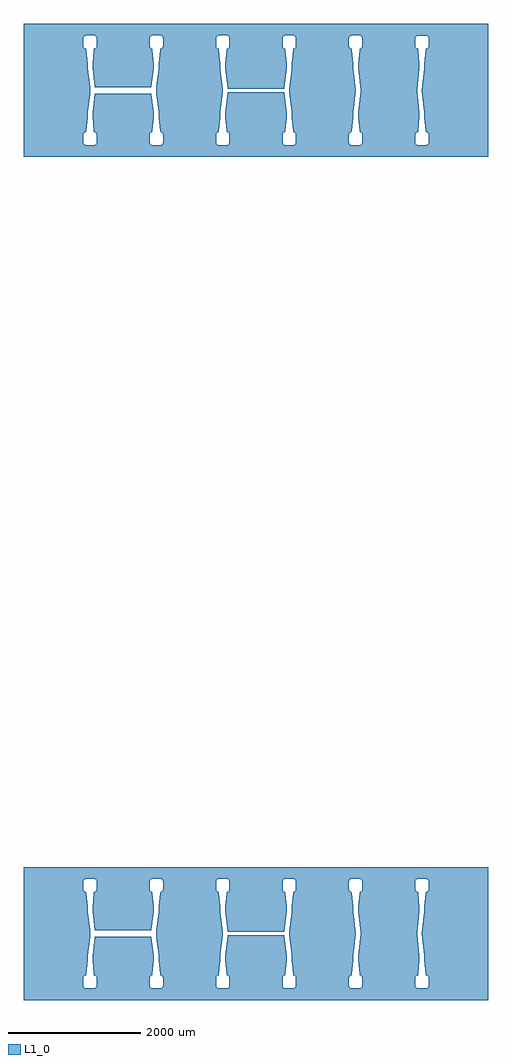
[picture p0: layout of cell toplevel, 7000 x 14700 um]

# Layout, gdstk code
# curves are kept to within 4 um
import gdstk
lib = gdstk.Library(unit=1e-6, precision=1e-09)
def P(c, l, *ps):  # polygons
    for p in ps: c.add(gdstk.Polygon(p, *l))
L1_0 = (1, 0)

toplevel = lib.new_cell('toplevel')
P(toplevel, L1_0, [(-3500,-5350),(-2000,-5350),(-2000,-6300),(-2425.041,-6300),(-2462.5,-6017.5),(-2462.5,-5945),(-2440,-5725),(-2414.624,-5715.92),(-2400.769,-5692.804),(-2400.769,-5557.196),(-2411.716,-5536.716),(-2432.196,-5525.769),(-2560,-5525),(-2588.284,-5536.716),(-2600,-5565),(-2599.231,-5692.804),(-2585.376,-5715.92),(-2560,-5725),(-2537.5,-5945),(-2537.168,-6024.978),(-2500,-6302.5),(-2500,-6397.5),(-2537.168,-6675.022),(-2537.5,-6755),(-2560,-6975),(-2585.376,-6984.08),(-2599.231,-7007.196),(-2598.278,-7146.611),(-2585.376,-7165.92),(-2567.804,-7174.231),(-2440,-7175),(-2414.624,-7165.92),(-2400.769,-7142.804),(-2400.769,-7007.196),(-2414.624,-6984.08),(-2440,-6975),(-2462.5,-6755),(-2462.5,-6682.5),(-2425.041,-6400),(-2000,-6400),(-2000,-7350),(-3500,-7350)],
  [(-2000,-5350),(0,-5350),(0,-6325),(-425.033,-6325),(-462.5,-6017.704),(-462.5,-5945),(-440,-5725),(-414.624,-5715.92),(-400.769,-5692.804),(-400.769,-5557.196),(-411.716,-5536.716),(-432.196,-5525.769),(-560,-5525),(-588.284,-5536.716),(-600,-5565),(-599.231,-5692.804),(-585.376,-5715.92),(-560,-5725),(-537.5,-5945),(-537.22,-6024.576),(-500,-6327.296),(-500,-6372.704),(-537.22,-6675.424),(-537.5,-6755),(-560,-6975),(-585.376,-6984.08),(-599.807,-7011.079),(-598.278,-7146.611),(-585.376,-7165.92),(-567.804,-7174.231),(-440,-7175),(-414.624,-7165.92),(-400.769,-7142.804),(-400.769,-7007.196),(-414.624,-6984.08),(-440,-6975),(-462.5,-6755),(-462.5,-6682.296),(-425.033,-6375),(0,-6375),(0,-7350),(-2000,-7350),(-2000,-6400),(-1574.959,-6400),(-1537.5,-6682.5),(-1537.5,-6755),(-1560,-6975),(-1585.376,-6984.08),(-1599.231,-7007.196),(-1599.231,-7142.804),(-1588.284,-7163.284),(-1567.804,-7174.231),(-1440,-7175),(-1411.716,-7163.284),(-1400,-7135),(-1400.769,-7007.196),(-1414.624,-6984.08),(-1440,-6975),(-1462.5,-6755),(-1462.832,-6675.022),(-1500,-6397.5),(-1500,-6302.5),(-1462.832,-6024.978),(-1462.5,-5945),(-1440,-5725),(-1414.624,-5715.92),(-1400.769,-5692.804),(-1401.722,-5553.389),(-1414.624,-5534.08),(-1432.196,-5525.769),(-1560,-5525),(-1585.376,-5534.08),(-1599.231,-5557.196),(-1599.231,-5692.804),(-1585.376,-5715.92),(-1560,-5725),(-1537.5,-5945),(-1537.5,-6017.5),(-1574.959,-6300),(-2000,-6300)],
  [(0,-5350),(2000,-5350),(2000,-6345),(1574.974,-6345),(1537.5,-6017.844),(1537.5,-5945),(1560,-5725),(1585.376,-5715.92),(1599.231,-5692.804),(1599.231,-5557.196),(1588.284,-5536.716),(1567.804,-5525.769),(1440,-5525),(1411.716,-5536.716),(1400,-5565),(1400.769,-5692.804),(1414.624,-5715.92),(1440,-5725),(1462.5,-5945),(1462.747,-6024.298),(1500,-6347.156),(1462.747,-6675.702),(1462.5,-6755),(1440,-6975),(1414.624,-6984.08),(1400.193,-7011.079),(1401.722,-7146.611),(1414.624,-7165.92),(1432.196,-7174.231),(1560,-7175),(1585.376,-7165.92),(1599.231,-7142.804),(1599.231,-7007.196),(1585.376,-6984.08),(1560,-6975),(1537.5,-6755),(1537.5,-6682.156),(1574.974,-6355),(2000,-6355),(2000,-7350),(0,-7350),(0,-6375),(425.033,-6375),(462.5,-6682.296),(462.5,-6755),(440,-6975),(414.624,-6984.08),(400.769,-7007.196),(400.769,-7142.804),(411.716,-7163.284),(432.196,-7174.231),(560,-7175),(588.284,-7163.284),(600,-7135),(599.231,-7007.196),(585.376,-6984.08),(560,-6975),(537.5,-6755),(537.22,-6675.424),(500,-6372.704),(500,-6327.296),(537.22,-6024.576),(537.5,-5945),(560,-5725),(585.376,-5715.92),(599.807,-5688.921),(598.278,-5553.389),(585.376,-5534.08),(567.804,-5525.769),(440,-5525),(414.624,-5534.08),(400.769,-5557.196),(400.769,-5692.804),(414.624,-5715.92),(440,-5725),(462.5,-5945),(462.5,-6017.704),(425.033,-6325),(0,-6325)],
  [(2000,-5350),(3500,-5350),(3500,-7350),(2000,-7350),(2000,-6355),(2425.026,-6355),(2462.5,-6682.156),(2462.5,-6755),(2440,-6975),(2414.624,-6984.08),(2400.769,-7007.196),(2400.769,-7142.804),(2411.716,-7163.284),(2432.196,-7174.231),(2560,-7175),(2588.284,-7163.284),(2600,-7135),(2599.231,-7007.196),(2585.376,-6984.08),(2560,-6975),(2537.5,-6755),(2537.253,-6675.702),(2500,-6352.844),(2537.253,-6024.298),(2537.5,-5945),(2560,-5725),(2585.376,-5715.92),(2599.807,-5688.921),(2598.278,-5553.389),(2585.376,-5534.08),(2567.804,-5525.769),(2440,-5525),(2414.624,-5534.08),(2400.769,-5557.196),(2400.769,-5692.804),(2414.624,-5715.92),(2440,-5725),(2462.5,-5945),(2462.5,-6017.844),(2425.026,-6345),(2000,-6345)],
  [(-3500,7350),(-2000,7350),(-2000,6400),(-2425.041,6400),(-2462.5,6682.5),(-2462.5,6755),(-2440,6975),(-2414.624,6984.08),(-2400.769,7007.196),(-2400.769,7142.804),(-2411.716,7163.284),(-2432.196,7174.231),(-2560,7175),(-2588.284,7163.284),(-2600,7135),(-2599.231,7007.196),(-2585.376,6984.08),(-2560,6975),(-2537.5,6755),(-2537.168,6675.022),(-2500,6397.5),(-2500,6302.5),(-2537.168,6024.978),(-2537.5,5945),(-2560,5725),(-2585.376,5715.92),(-2599.231,5692.804),(-2598.278,5553.389),(-2585.376,5534.08),(-2567.804,5525.769),(-2440,5525),(-2414.624,5534.08),(-2400.769,5557.196),(-2400.769,5692.804),(-2414.624,5715.92),(-2440,5725),(-2462.5,5945),(-2462.5,6017.5),(-2425.041,6300),(-2000,6300),(-2000,5350),(-3500,5350)],
  [(-2000,7350),(0,7350),(0,6375),(-425.033,6375),(-462.5,6682.296),(-462.5,6755),(-440,6975),(-414.624,6984.08),(-400.769,7007.196),(-400.769,7142.804),(-411.716,7163.284),(-432.196,7174.231),(-560,7175),(-588.284,7163.284),(-600,7135),(-599.231,7007.196),(-585.376,6984.08),(-560,6975),(-537.5,6755),(-537.22,6675.424),(-500,6372.704),(-500,6327.296),(-537.22,6024.576),(-537.5,5945),(-560,5725),(-585.376,5715.92),(-599.807,5688.921),(-598.278,5553.389),(-585.376,5534.08),(-567.804,5525.769),(-440,5525),(-414.624,5534.08),(-400.769,5557.196),(-400.769,5692.804),(-414.624,5715.92),(-440,5725),(-462.5,5945),(-462.5,6017.704),(-425.033,6325),(0,6325),(0,5350),(-2000,5350),(-2000,6300),(-1574.959,6300),(-1537.5,6017.5),(-1537.5,5945),(-1560,5725),(-1585.376,5715.92),(-1599.231,5692.804),(-1599.231,5557.196),(-1588.284,5536.716),(-1567.804,5525.769),(-1440,5525),(-1411.716,5536.716),(-1400,5565),(-1400.769,5692.804),(-1414.624,5715.92),(-1440,5725),(-1462.5,5945),(-1462.832,6024.978),(-1500,6302.5),(-1500,6397.5),(-1462.832,6675.022),(-1462.5,6755),(-1440,6975),(-1414.624,6984.08),(-1400.769,7007.196),(-1401.722,7146.611),(-1414.624,7165.92),(-1432.196,7174.231),(-1560,7175),(-1585.376,7165.92),(-1599.231,7142.804),(-1599.231,7007.196),(-1585.376,6984.08),(-1560,6975),(-1537.5,6755),(-1537.5,6682.5),(-1574.959,6400),(-2000,6400)],
  [(0,7350),(2000,7350),(2000,6355),(1574.974,6355),(1537.5,6682.156),(1537.5,6755),(1560,6975),(1585.376,6984.08),(1599.231,7007.196),(1599.231,7142.804),(1588.284,7163.284),(1567.804,7174.231),(1440,7175),(1411.716,7163.284),(1400,7135),(1400.769,7007.196),(1414.624,6984.08),(1440,6975),(1462.5,6755),(1462.747,6675.702),(1500,6352.844),(1462.747,6024.298),(1462.5,5945),(1440,5725),(1414.624,5715.92),(1400.193,5688.921),(1401.722,5553.389),(1414.624,5534.08),(1432.196,5525.769),(1560,5525),(1585.376,5534.08),(1599.231,5557.196),(1599.231,5692.804),(1585.376,5715.92),(1560,5725),(1537.5,5945),(1537.5,6017.844),(1574.974,6345),(2000,6345),(2000,5350),(0,5350),(0,6325),(425.033,6325),(462.5,6017.704),(462.5,5945),(440,5725),(414.624,5715.92),(400.769,5692.804),(400.769,5557.196),(411.716,5536.716),(432.196,5525.769),(560,5525),(588.284,5536.716),(600,5565),(599.231,5692.804),(585.376,5715.92),(560,5725),(537.5,5945),(537.22,6024.576),(500,6327.296),(500,6372.704),(537.22,6675.424),(537.5,6755),(560,6975),(585.376,6984.08),(599.807,7011.079),(598.278,7146.611),(585.376,7165.92),(567.804,7174.231),(440,7175),(414.624,7165.92),(400.769,7142.804),(400.769,7007.196),(414.624,6984.08),(440,6975),(462.5,6755),(462.5,6682.296),(425.033,6375),(0,6375)],
  [(2000,7350),(3500,7350),(3500,5350),(2000,5350),(2000,6345),(2425.026,6345),(2462.5,6017.844),(2462.5,5945),(2440,5725),(2414.624,5715.92),(2400.769,5692.804),(2400.769,5557.196),(2411.716,5536.716),(2432.196,5525.769),(2560,5525),(2588.284,5536.716),(2600,5565),(2599.231,5692.804),(2585.376,5715.92),(2560,5725),(2537.5,5945),(2537.253,6024.298),(2500,6347.156),(2537.253,6675.702),(2537.5,6755),(2560,6975),(2585.376,6984.08),(2599.807,7011.079),(2598.278,7146.611),(2585.376,7165.92),(2567.804,7174.231),(2440,7175),(2414.624,7165.92),(2400.769,7142.804),(2400.769,7007.196),(2414.624,6984.08),(2440,6975),(2462.5,6755),(2462.5,6682.156),(2425.026,6355),(2000,6355)])

lib.write_gds('toplevel.gds')
